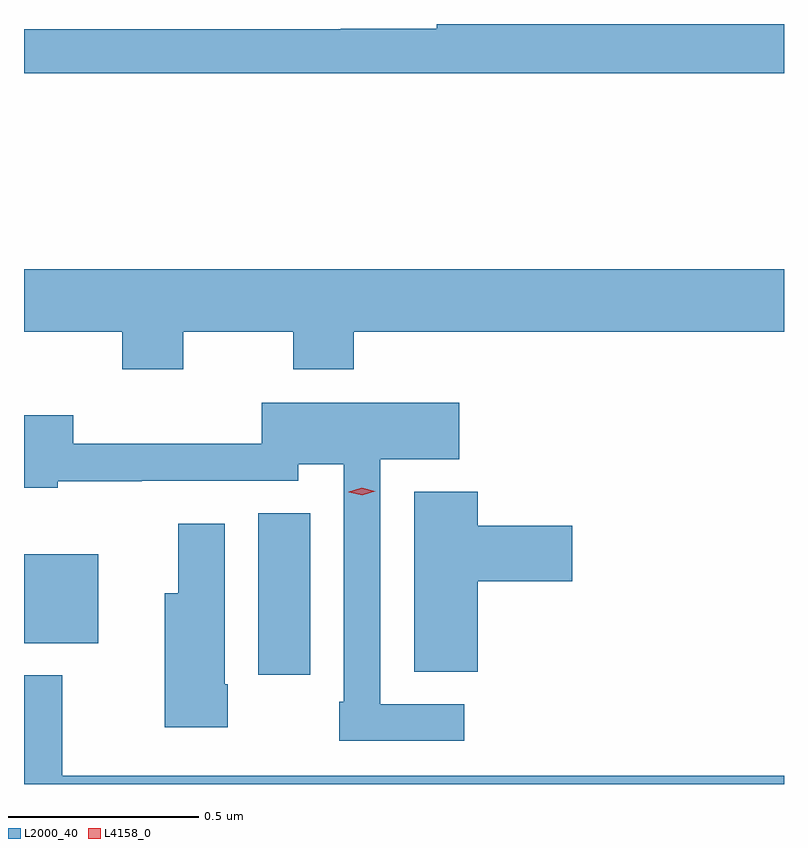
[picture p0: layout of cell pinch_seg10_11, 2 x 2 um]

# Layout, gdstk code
import gdstk
lib = gdstk.Library(unit=1e-6, precision=1e-09)
def R(c, l, rs):  # rectangles x0, y0, x1, y1
    for r in rs: c.add(gdstk.rectangle(r[:2], r[2:], *l))
def P(c, l, *ps):  # polygons
    for p in ps: c.add(gdstk.Polygon(p, *l))
L2000_40 = (2000, 40)
L4158_0 = (4158, 0)

pinch_seg10_11 = lib.new_cell('pinch_seg10_11')
R(pinch_seg10_11, L2000_40, [(1048.91,1252.794,1049.047,1253.219), (1048.294,1252.877,1048.489,1253.11)])
P(pinch_seg10_11, L2000_40, [(1050.294,1254.506),(1049.38,1254.506),(1049.38,1254.493),(1049.128,1254.493),(1049.128,1254.492),(1048.294,1254.492),(1048.294,1254.376),(1050.294,1254.376)],
  [(1048.713,1253.696),(1049.002,1253.696),(1049.002,1253.597),(1049.162,1253.597),(1049.162,1253.696),(1050.294,1253.696),(1050.294,1253.86),(1048.294,1253.86),(1048.294,1253.696),(1048.553,1253.696),(1048.553,1253.597),(1048.713,1253.597)],
  [(1049.452,1252.716),(1049.232,1252.716),(1049.232,1253.36),(1049.44,1253.36),(1049.44,1253.509),(1048.92,1253.509),(1048.92,1253.402),(1048.424,1253.402),(1048.424,1253.476),(1048.294,1253.476),(1048.294,1253.285),(1048.383,1253.285),(1048.383,1253.303),(1048.604,1253.303),(1048.604,1253.304),(1049.016,1253.304),(1049.016,1253.348),(1049.136,1253.348),(1049.136,1252.723),(1049.124,1252.723),(1049.124,1252.62),(1049.452,1252.62)],
  [(1049.488,1253.039),(1049.737,1253.039),(1049.737,1253.186),(1049.488,1253.186),(1049.488,1253.275),(1049.321,1253.275),(1049.321,1252.801),(1049.488,1252.801)],
  [(1048.83,1252.768),(1048.822,1252.768),(1048.822,1253.191),(1048.7,1253.191),(1048.7,1253.008),(1048.664,1253.008),(1048.664,1252.656),(1048.83,1252.656)],
  [(1050.294,1252.528),(1048.394,1252.528),(1048.394,1252.792),(1048.294,1252.792),(1048.294,1252.506),(1050.294,1252.506)])
P(pinch_seg10_11, L4158_0, [(1049.184,1253.266),(1049.149,1253.274),(1049.148,1253.275),(1049.149,1253.275),(1049.183,1253.286),(1049.218,1253.277),(1049.218,1253.277),(1049.218,1253.276)])

lib.write_gds('pinch_seg10_11.gds')
